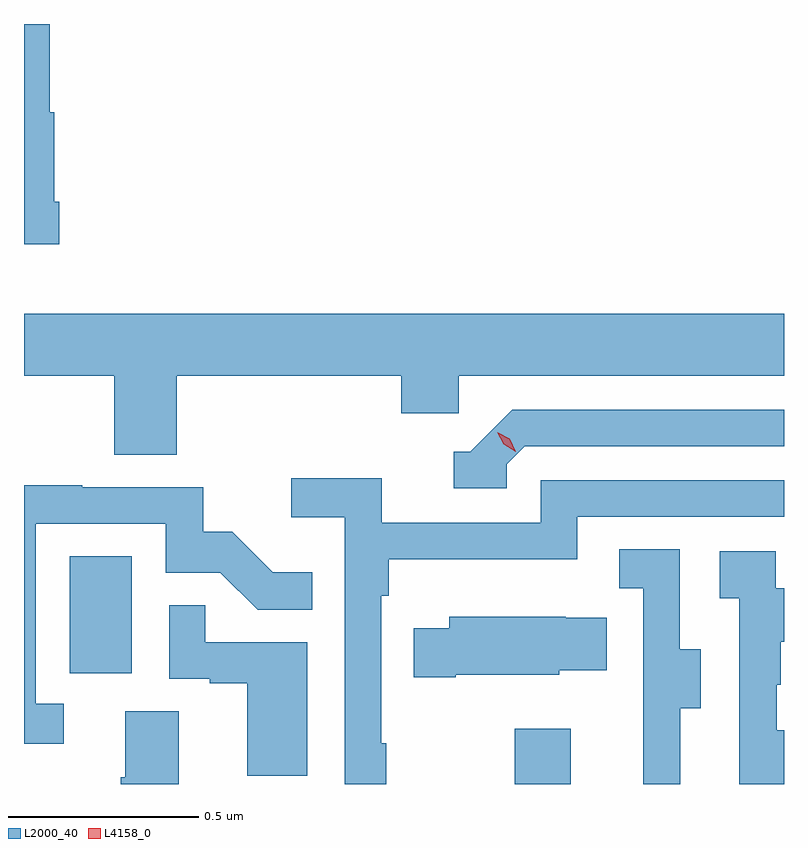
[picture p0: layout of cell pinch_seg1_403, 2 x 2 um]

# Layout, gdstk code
import gdstk
lib = gdstk.Library(unit=1e-6, precision=1e-09)
def R(c, l, rs):  # rectangles x0, y0, x1, y1
    for r in rs: c.add(gdstk.rectangle(r[:2], r[2:], *l))
def P(c, l, *ps):  # polygons
    for p in ps: c.add(gdstk.Polygon(p, *l))
L2000_40 = (2000, 40)
L4158_0 = (4158, 0)

pinch_seg1_403 = lib.new_cell('pinch_seg1_403')
R(pinch_seg1_403, L2000_40, [(1001.656,524.018,1001.803,524.164), (1000.484,524.31,1000.648,524.617)])
P(pinch_seg1_403, L2000_40, [(1000.457,525.55),(1000.444,525.55),(1000.444,525.786),(1000.432,525.786),(1000.432,526.018),(1000.364,526.018),(1000.364,525.438),(1000.457,525.438)],
  [(1000.766,525.092),(1001.357,525.092),(1001.357,524.994),(1001.508,524.994),(1001.508,525.092),(1002.364,525.092),(1002.364,525.256),(1000.364,525.256),(1000.364,525.092),(1000.601,525.092),(1000.601,524.884),(1000.766,524.884)],
  [(1001.634,524.859),(1001.682,524.907),(1002.364,524.907),(1002.364,525.003),(1001.649,525.003),(1001.538,524.892),(1001.495,524.892),(1001.495,524.796),(1001.634,524.796)],
  [(1001.317,524.125),(1001.304,524.125),(1001.304,524.513),(1001.324,524.513),(1001.324,524.609),(1001.82,524.609),(1001.82,524.721),(1002.364,524.721),(1002.364,524.817),(1001.724,524.817),(1001.724,524.706),(1001.306,524.706),(1001.306,524.822),(1001.067,524.822),(1001.067,524.72),(1001.208,524.72),(1001.208,524.018),(1001.317,524.018)],
  [(1000.468,524.229),(1000.395,524.229),(1000.395,524.703),(1000.737,524.703),(1000.737,524.574),(1000.881,524.574),(1000.979,524.476),(1001.123,524.476),(1001.123,524.575),(1001.019,524.575),(1000.912,524.682),(1000.836,524.682),(1000.836,524.799),(1000.517,524.799),(1000.517,524.804),(1000.364,524.804),(1000.364,524.124),(1000.468,524.124)],
  [(1002.091,524.218),(1002.145,524.218),(1002.145,524.373),(1002.09,524.373),(1002.09,524.636),(1001.931,524.636),(1001.931,524.533),(1001.994,524.533),(1001.994,524.229),(1001.993,524.229),(1001.993,524.018),(1002.091,524.018)],
  [(1002.364,524.16),(1002.345,524.16),(1002.345,524.279),(1002.355,524.279),(1002.355,524.393),(1002.364,524.393),(1002.364,524.533),(1002.342,524.533),(1002.342,524.631),(1002.195,524.631),(1002.195,524.507),(1002.246,524.507),(1002.246,524.018),(1002.364,524.018)],
  [(1001.11,524.391),(1000.841,524.391),(1000.841,524.489),(1000.746,524.489),(1000.746,524.295),(1000.853,524.295),(1000.853,524.283),(1000.952,524.283),(1000.952,524.04),(1001.11,524.04)],
  [(1001.5,524.306),(1001.772,524.306),(1001.772,524.318),(1001.897,524.318),(1001.897,524.455),(1001.789,524.455),(1001.789,524.458),(1001.483,524.458),(1001.483,524.428),(1001.389,524.428),(1001.389,524.299),(1001.5,524.299)],
  [(1000.771,524.21),(1000.631,524.21),(1000.631,524.036),(1000.619,524.036),(1000.619,524.018),(1000.771,524.018)])
P(pinch_seg1_403, L4158_0, [(1001.658,524.893),(1001.627,524.912),(1001.61,524.944),(1001.61,524.944),(1001.61,524.944),(1001.642,524.926),(1001.658,524.893),(1001.658,524.893)])

lib.write_gds('pinch_seg1_403.gds')
